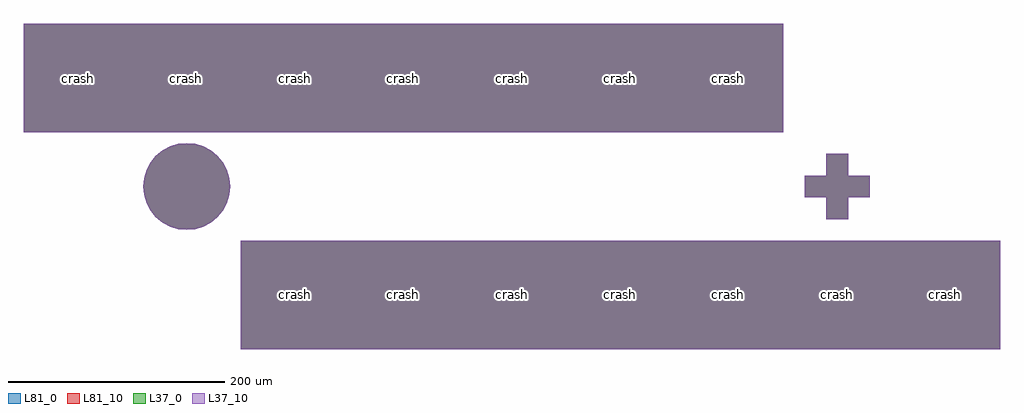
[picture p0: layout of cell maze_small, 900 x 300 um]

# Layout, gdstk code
import gdstk
lib = gdstk.Library(unit=1e-6, precision=1e-09)
def R(c, l, rs):  # rectangles x0, y0, x1, y1
    for r in rs: c.add(gdstk.rectangle(r[:2], r[2:], *l))
def A(c, l, x, y, w, h, nx, ny, dx, dy):  # array of equal rectangles
    R(c, l, [(x+i*dx, y+j*dy, x+i*dx+w, y+j*dy+h) for i in range(nx) for j in range(ny)])
def P(c, l, *ps):  # polygons
    for p in ps: c.add(gdstk.Polygon(p, *l))
L37_0 = (37, 0)
L37_10 = (37, 10)
L81_0 = (81, 0)
L81_10 = (81, 10)

maze_small = lib.new_cell('maze_small')
A(maze_small, L37_0, 1000, 500, 100, 100, 7, 1, 100, 0)
A(maze_small, L37_0, 800, 700, 100, 100, 7, 1, 100, 0)
R(maze_small, L37_0, [(1540,620,1560,680), (1520,640,1580,660)])
P(maze_small, L37_0, [(950,610),(942.197,610.769),(934.693,613.045),(927.778,616.742),(921.716,621.716),(916.742,627.778),(913.045,634.693),(910.769,642.197),(910,650),(910.769,657.803),(913.045,665.307),(916.742,672.222),(921.716,678.284),(927.778,683.258),(934.693,686.955),(942.197,689.231),(950,690),(957.803,689.231),(965.307,686.955),(972.222,683.258),(978.284,678.284),(983.258,672.222),(986.955,665.307),(989.231,657.803),(990,650),(989.231,642.197),(986.955,634.693),(983.258,627.778),(978.284,621.716),(972.222,616.742),(965.307,613.045),(957.803,610.769)])
A(maze_small, L37_10, 1000, 500, 100, 100, 7, 1, 100, 0)
A(maze_small, L37_10, 800, 700, 100, 100, 7, 1, 100, 0)
R(maze_small, L37_10, [(1540,620,1560,680), (1520,640,1580,660)])
P(maze_small, L37_10, [(950,610),(942.197,610.769),(934.693,613.045),(927.778,616.742),(921.716,621.716),(916.742,627.778),(913.045,634.693),(910.769,642.197),(910,650),(910.769,657.803),(913.045,665.307),(916.742,672.222),(921.716,678.284),(927.778,683.258),(934.693,686.955),(942.197,689.231),(950,690),(957.803,689.231),(965.307,686.955),(972.222,683.258),(978.284,678.284),(983.258,672.222),(986.955,665.307),(989.231,657.803),(990,650),(989.231,642.197),(986.955,634.693),(983.258,627.778),(978.284,621.716),(972.222,616.742),(965.307,613.045),(957.803,610.769)])
A(maze_small, L81_0, 1000, 500, 100, 100, 7, 1, 100, 0)
A(maze_small, L81_0, 800, 700, 100, 100, 7, 1, 100, 0)
R(maze_small, L81_0, [(1540,620,1560,680), (1520,640,1580,660)])
P(maze_small, L81_0, [(950,610),(942.197,610.769),(934.693,613.045),(927.778,616.742),(921.716,621.716),(916.742,627.778),(913.045,634.693),(910.769,642.197),(910,650),(910.769,657.803),(913.045,665.307),(916.742,672.222),(921.716,678.284),(927.778,683.258),(934.693,686.955),(942.197,689.231),(950,690),(957.803,689.231),(965.307,686.955),(972.222,683.258),(978.284,678.284),(983.258,672.222),(986.955,665.307),(989.231,657.803),(990,650),(989.231,642.197),(986.955,634.693),(983.258,627.778),(978.284,621.716),(972.222,616.742),(965.307,613.045),(957.803,610.769)])
A(maze_small, L81_10, 1000, 500, 100, 100, 7, 1, 100, 0)
A(maze_small, L81_10, 800, 700, 100, 100, 7, 1, 100, 0)
R(maze_small, L81_10, [(1540,620,1560,680), (1520,640,1580,660)])
P(maze_small, L81_10, [(950,610),(942.197,610.769),(934.693,613.045),(927.778,616.742),(921.716,621.716),(916.742,627.778),(913.045,634.693),(910.769,642.197),(910,650),(910.769,657.803),(913.045,665.307),(916.742,672.222),(921.716,678.284),(927.778,683.258),(934.693,686.955),(942.197,689.231),(950,690),(957.803,689.231),(965.307,686.955),(972.222,683.258),(978.284,678.284),(983.258,672.222),(986.955,665.307),(989.231,657.803),(990,650),(989.231,642.197),(986.955,634.693),(983.258,627.778),(978.284,621.716),(972.222,616.742),(965.307,613.045),(957.803,610.769)])
maze_small.add(gdstk.Label('crash', (850,750), layer=81, texttype=10))
maze_small.add(gdstk.Label('crash', (950,750), layer=81, texttype=10))
maze_small.add(gdstk.Label('crash', (1050,750), layer=81, texttype=10))
maze_small.add(gdstk.Label('crash', (1150,750), layer=81, texttype=10))
maze_small.add(gdstk.Label('crash', (1250,750), layer=81, texttype=10))
maze_small.add(gdstk.Label('crash', (1350,750), layer=81, texttype=10))
maze_small.add(gdstk.Label('crash', (1450,750), layer=81, texttype=10))
maze_small.add(gdstk.Label('crash', (1050,550), layer=81, texttype=10))
maze_small.add(gdstk.Label('crash', (1150,550), layer=81, texttype=10))
maze_small.add(gdstk.Label('crash', (1250,550), layer=81, texttype=10))
maze_small.add(gdstk.Label('crash', (1350,550), layer=81, texttype=10))
maze_small.add(gdstk.Label('crash', (1450,550), layer=81, texttype=10))
maze_small.add(gdstk.Label('crash', (1550,550), layer=81, texttype=10))
maze_small.add(gdstk.Label('crash', (1650,550), layer=81, texttype=10))
maze_small.add(gdstk.Label('crash', (850,750), layer=37, texttype=10))
maze_small.add(gdstk.Label('crash', (950,750), layer=37, texttype=10))
maze_small.add(gdstk.Label('crash', (1050,750), layer=37, texttype=10))
maze_small.add(gdstk.Label('crash', (1150,750), layer=37, texttype=10))
maze_small.add(gdstk.Label('crash', (1250,750), layer=37, texttype=10))
maze_small.add(gdstk.Label('crash', (1350,750), layer=37, texttype=10))
maze_small.add(gdstk.Label('crash', (1450,750), layer=37, texttype=10))
maze_small.add(gdstk.Label('crash', (1050,550), layer=37, texttype=10))
maze_small.add(gdstk.Label('crash', (1150,550), layer=37, texttype=10))
maze_small.add(gdstk.Label('crash', (1250,550), layer=37, texttype=10))
maze_small.add(gdstk.Label('crash', (1350,550), layer=37, texttype=10))
maze_small.add(gdstk.Label('crash', (1450,550), layer=37, texttype=10))
maze_small.add(gdstk.Label('crash', (1550,550), layer=37, texttype=10))
maze_small.add(gdstk.Label('crash', (1650,550), layer=37, texttype=10))

lib.write_gds('maze_small.gds')
